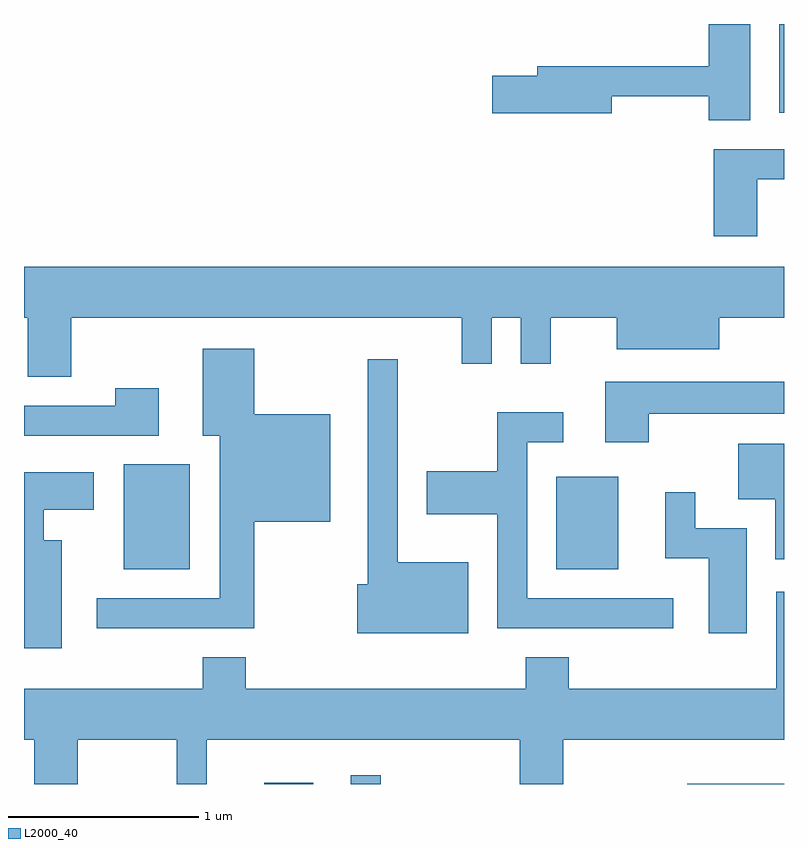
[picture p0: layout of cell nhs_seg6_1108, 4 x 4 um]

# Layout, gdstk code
import gdstk
lib = gdstk.Library(unit=1e-6, precision=1e-09)
def R(c, l, rs):  # rectangles x0, y0, x1, y1
    for r in rs: c.add(gdstk.rectangle(r[:2], r[2:], *l))
def P(c, l, *ps):  # polygons
    for p in ps: c.add(gdstk.Polygon(p, *l))
L2000_40 = (2000, 40)

nhs_seg6_1108 = lib.new_cell('nhs_seg6_1108')
R(nhs_seg6_1108, L2000_40, [(218.876,1634.162,219.134,1634.169), (219.331,1634.162,219.489,1634.208), (221.103,1634.162,221.611,1634.164), (218.136,1635.291,218.484,1635.844), (220.411,1635.291,220.739,1635.779), (221.586,1637.696,221.611,1638.162)])
P(nhs_seg6_1108, L2000_40, [(221.434,1638.162),(221.216,1638.162),(221.216,1637.939),(220.311,1637.939),(220.311,1637.889),(220.076,1637.889),(220.076,1637.691),(220.704,1637.691),(220.704,1637.781),(221.216,1637.781),(221.216,1637.656),(221.434,1637.656)],
  [(221.469,1637.346),(221.611,1637.346),(221.611,1637.504),(221.241,1637.504),(221.241,1637.046),(221.469,1637.046)],
  [(217.611,1636.616),(217.631,1636.616),(217.631,1636.306),(217.859,1636.306),(217.859,1636.616),(219.916,1636.616),(219.916,1636.373),(220.074,1636.373),(220.074,1636.616),(220.226,1636.616),(220.226,1636.373),(220.384,1636.373),(220.384,1636.616),(220.731,1636.616),(220.731,1636.451),(221.269,1636.451),(221.269,1636.616),(221.611,1636.616),(221.611,1636.884),(217.611,1636.884)],
  [(218.824,1635.541),(219.224,1635.541),(219.224,1636.109),(218.824,1636.109),(218.824,1636.454),(218.551,1636.454),(218.551,1635.996),(218.641,1635.996),(218.641,1635.139),(217.993,1635.139),(217.993,1634.981),(218.824,1634.981)],
  [(219.949,1635.329),(219.579,1635.329),(219.579,1636.398),(219.421,1636.398),(219.421,1635.214),(219.366,1635.214),(219.366,1634.956),(219.949,1634.956)],
  [(220.899,1636.111),(221.611,1636.111),(221.611,1636.279),(220.671,1636.279),(220.671,1635.961),(220.899,1635.961)],
  [(218.319,1636.244),(218.091,1636.244),(218.091,1636.154),(217.611,1636.154),(217.611,1635.996),(218.319,1635.996)],
  [(221.028,1635.139),(220.259,1635.139),(220.259,1635.961),(220.448,1635.961),(220.448,1636.119),(220.101,1636.119),(220.101,1635.809),(219.731,1635.809),(219.731,1635.581),(220.101,1635.581),(220.101,1634.981),(221.028,1634.981)],
  [(221.611,1635.954),(221.371,1635.954),(221.371,1635.661),(221.566,1635.661),(221.566,1635.346),(221.611,1635.346)],
  [(217.809,1635.444),(217.714,1635.444),(217.714,1635.606),(217.979,1635.606),(217.979,1635.804),(217.611,1635.804),(217.611,1634.876),(217.809,1634.876)],
  [(221.414,1635.509),(221.144,1635.509),(221.144,1635.698),(220.986,1635.698),(220.986,1635.351),(221.216,1635.351),(221.216,1634.956),(221.414,1634.956)],
  [(217.894,1634.396),(218.416,1634.396),(218.416,1634.162),(218.574,1634.162),(218.574,1634.396),(220.221,1634.396),(220.221,1634.162),(220.449,1634.162),(220.449,1634.396),(221.611,1634.396),(221.611,1635.173),(221.571,1635.173),(221.571,1634.664),(220.479,1634.664),(220.479,1634.829),(220.251,1634.829),(220.251,1634.664),(218.779,1634.664),(218.779,1634.829),(218.551,1634.829),(218.551,1634.664),(217.611,1634.664),(217.611,1634.396),(217.666,1634.396),(217.666,1634.162),(217.894,1634.162)])

lib.write_gds('nhs_seg6_1108.gds')
